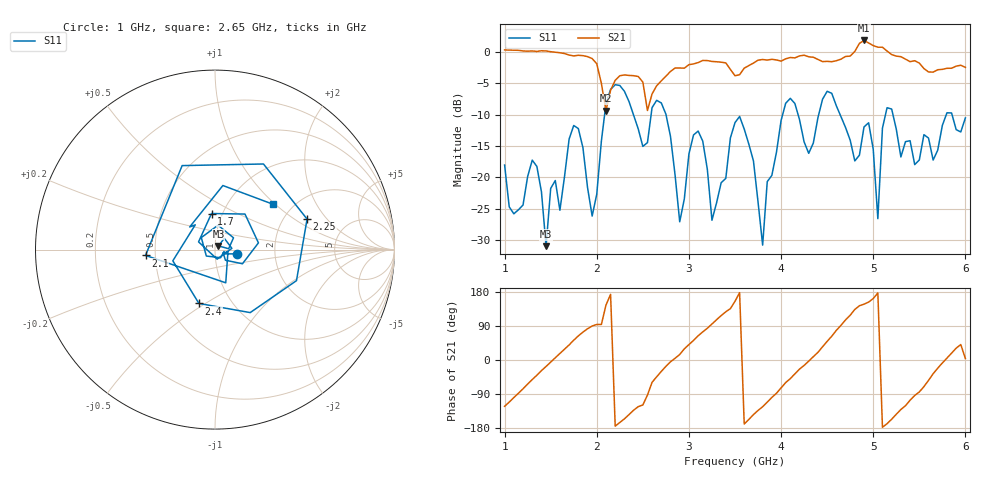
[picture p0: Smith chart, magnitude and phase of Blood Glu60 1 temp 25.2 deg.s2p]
! NanoVNA-App
! Date: 2024-03-20 20:31:22
! Start: 1GHz Stop: 6GHz Points: 101
! S-Parameter data: F S11 S21 S12 S22
# Hz S RI R 50
!	Frequency	S11_Real	S11_Imag	S21_Real	S21_Imag	S12_Real	S12_Imag	S22_Real	S22_Imag
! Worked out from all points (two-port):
!   101 points, 1 GHz to 6 GHz, reference 50 ohm
!   highest |S21| = 1.84 dB at 4.9 GHz (marker M1); lowest = -9.4 dB at 2.1 GHz (marker M2)
!   |S21| within 3 dB of the highest: start of sweep to 1.957 GHz; 4.647 GHz to 5.352 GHz (705.5 MHz wide, 14.1 % of centre)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
!   lowest |S11| = -31.0 dB at 1.45 GHz (marker M3), VSWR 1.06, Z = 51.9 + j2.13 ohm
!   |S11| at or under -10 dB: start of sweep to 2.085 GHz; 2.751 GHz to 4.017 GHz (1.266 GHz wide, 37.4 % of centre); 5.214 GHz to 5.793 GHz (578.7 MHz wide, 10.5 % of centre)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
!   S12 and S22 are empty: the file has one direction only
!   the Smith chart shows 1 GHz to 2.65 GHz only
!   S11 on the Smith chart (normalised r, x): 1 GHz: 1.28, -0.06; 1.7 GHz: 0.89, +0.37; 2.1 GHz: 0.44, -0.03; 2.25 GHz: 2.66, +1.28; 2.4 GHz: 0.71, -0.47; 2.65 GHz: 1.60, +0.97
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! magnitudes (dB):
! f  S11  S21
! 1 GHz  -18.0  0.3
! 1.35 GHz  -18.3  0.1
! 1.45 GHz  -31.0  0.2
! 1.7 GHz  -13.9  -0.5
! 1.85 GHz  -15.3  -0.6
! 1.95 GHz  -26.2  -1.1
! 2.1 GHz  -8.2  -9.4
! 2.25 GHz  -5.3  -3.8
! 2.4 GHz  -10.1  -3.8
! 2.65 GHz  -7.7  -5.4
! 2.7 GHz  -8.1  -4.6
! 2.9 GHz  -27.1  -2.6
! 3.05 GHz  -13.2  -1.9
! 3.25 GHz  -26.8  -1.5
! 3.5 GHz  -11.3  -3.8
! 3.8 GHz  -30.8  -1.2
! 4.05 GHz  -8.2  -1.1
! 4.35 GHz  -14.5  -0.8
! 4.9 GHz  -12.0  1.8
! 5.05 GHz  -26.6  0.8
! 5.2 GHz  -9.1  -0.4
! 6 GHz  -10.5  -2.5
